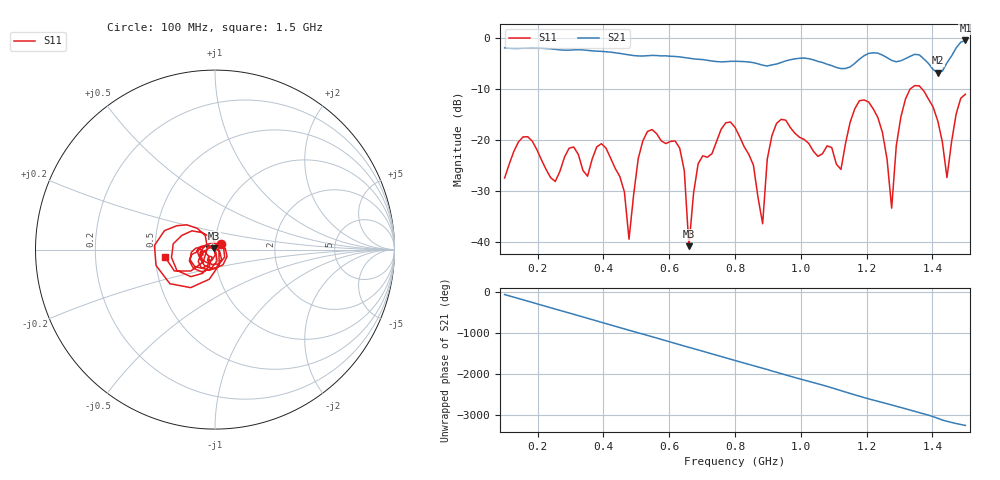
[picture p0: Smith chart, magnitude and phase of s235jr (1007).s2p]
! NanoVNA-App
! Date: 2025-09-25 15:12:00
! Start: 100MHz Stop: 1,5GHz Points: 101
! S-Parameter data: F S11 S21 S12 S22
# Hz S RI R 50
!  Frequency  S11_Real  S11_Imag  S21_Real  S21_Imag  S12_Real  S12_Imag  S22_Real  S22_Imag
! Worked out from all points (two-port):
!   101 points, 100 MHz to 1.5 GHz, reference 50 ohm
!   highest |S21| = -0.52 dB at 1.5 GHz (marker M1); lowest = -6.8 dB at 1.416 GHz (marker M2)
!   |S21| within 3 dB of the highest: start of sweep to 499.5 MHz; 1.192 GHz to 1.252 GHz (59.76 MHz wide, 4.89 % of centre) (the widest 2 of 5)
!   lowest |S11| = -40.8 dB at 660 MHz (marker M3), VSWR 1.02, Z = 49.3 + j0.627 ohm
!   |S11| at or under -10 dB: start of sweep to 1.333 GHz; 1.368 GHz to end of sweep
!   S12 and S22 are empty: the file has one direction only
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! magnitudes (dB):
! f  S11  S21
! 100 MHz  -27.5  -2.0
! 156 MHz  -19.4  -2.0
! 338 MHz  -26.0  -2.4
! 408 MHz  -21.6  -2.7
! 478 MHz  -39.4  -3.3
! 520 MHz  -20.2  -3.6
! 576 MHz  -20.2  -3.5
! 632 MHz  -21.6  -3.7
! 660 MHz  -40.8  -4.0
! 688 MHz  -24.7  -4.2
! 800 MHz  -17.5  -4.6
! 884 MHz  -36.4  -5.4
! 926 MHz  -16.8  -5.1
! 1.038 GHz  -22.2  -4.3
! 1.122 GHz  -25.8  -6.0
! 1.206 GHz  -12.6  -3.1
! 1.248 GHz  -18.6  -3.4
! 1.276 GHz  -33.4  -4.4
! 1.332 GHz  -10.0  -3.6
! 1.416 GHz  -16.3  -6.8
! 1.444 GHz  -27.4  -4.9
! 1.5 GHz  -11.0  -0.5
